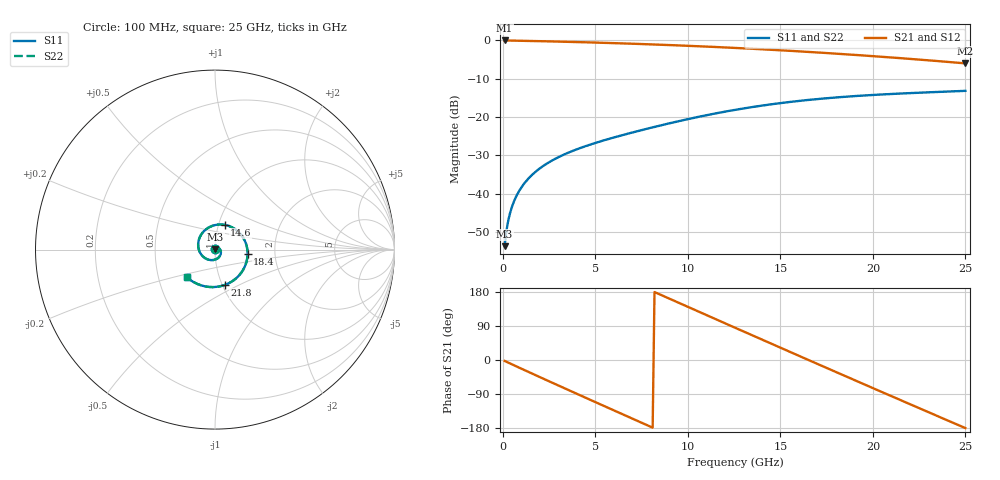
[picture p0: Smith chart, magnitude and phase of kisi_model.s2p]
! kisi D_s8_stitch_1p0: fast channel model (formula impedances, via model), up to 25 GHz
# Hz S RI R 50
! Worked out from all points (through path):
!   250 points, 100 MHz to 25 GHz, reference 50 ohm
!   highest |S21| = -0.02 dB at 100 MHz (marker M1); lowest = -6.0 dB at 25 GHz (marker M2)
!   group delay of S21, straight-line fit = 59.9 ps
!   lowest |S11| = -53.7 dB at 100 MHz (marker M3), VSWR 1.00, Z = 50.1 + j0.147 ohm
!   |S11| at or under -10 dB: start of sweep to end of sweep
!   |S22| runs from -53.7 to -13.2 dB; largest |S21 - S12| = 0
!   S11 on the Smith chart (normalised r, x): 100 MHz: 1.00, +0.00; 14.6 GHz: 1.07, +0.30; 18.4 GHz: 1.44, -0.08; 21.8 GHz: 1.02, -0.42; 25 GHz: 0.70, -0.22
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1e8  0.00147 0.00147  0.9971 -0.0411  0.9971 -0.0411  0.00147 0.00147
3e8  0.00247 0.00378  0.9886 -0.1207  0.9886 -0.1207  0.00247 0.00378
5e8  0.00382 0.00561  0.9739 -0.1983  0.9739 -0.1983  0.00382 0.00561
1.2e9  0.0105 0.00929  0.877 -0.4517  0.877 -0.4517  0.0105 0.00929
2.8e9  0.0283 0.000541  0.4429 -0.8601  0.4429 -0.8601  0.0283 0.000541
4.3e9  0.0315 -0.0253  -0.0945 -0.9424  -0.0945 -0.9424  0.0315 -0.0253
5.3e9  0.0198 -0.0442  -0.4319 -0.8262  -0.4319 -0.8262  0.0198 -0.0442
6.5e9  -0.00841 -0.0579  -0.7366 -0.5398  -0.7366 -0.5398  -0.00841 -0.0579
7.5e9  -0.0387 -0.0554  -0.8678 -0.2243  -0.8678 -0.2243  -0.0387 -0.0554
8.4e9  -0.0652 -0.0401  -0.877 0.0774  -0.877 0.0774  -0.0652 -0.0401
9.5e9  -0.0882 -0.00601  -0.753 0.4153  -0.753 0.4153  -0.0882 -0.00601
1.07e10  -0.0925 0.0433  -0.4818 0.6838  -0.4818 0.6838  -0.0925 0.0433
1.26e10  -0.0461 0.116  0.0809 0.7928  0.0809 0.7928  -0.0461 0.116
1.46e10  0.0533 0.1378  0.5666 0.4952  0.5666 0.4952  0.0533 0.1378
1.57e10  0.1105 0.1149  0.6931 0.2193  0.6931 0.2193  0.1105 0.1149
1.67e10  0.1522 0.0736  0.7017 -0.0472  0.7017 -0.0472  0.1522 0.0736
1.84e10  0.1815 -0.0262  0.5064 -0.4269  0.5064 -0.4269  0.1815 -0.0262
1.97e10  0.1597 -0.1074  0.2384 -0.5838  0.2384 -0.5838  0.1597 -0.1074
2.09e10  0.1074 -0.1683  -0.0341 -0.6002  -0.0341 -0.6002  0.1074 -0.1683
2.18e10  0.0531 -0.1974  -0.2197 -0.5358  -0.2197 -0.5358  0.0531 -0.1974
2.34e10  -0.0574 -0.2043  -0.448 -0.3016  -0.448 -0.3016  -0.0574 -0.2043
2.5e10  -0.1577 -0.1531  -0.5015 -0.00307  -0.5015 -0.00307  -0.1577 -0.1531
